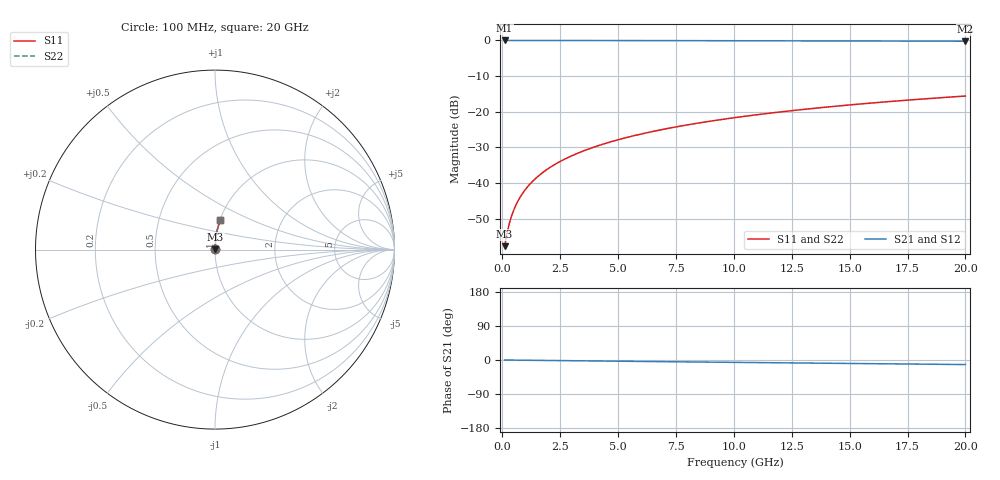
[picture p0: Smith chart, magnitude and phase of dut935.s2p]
! Touchstone file exported from HFSS 2024.1.0
!  File:  C:/UserFiles/LocalFiles/RDL_TSV_Batchsim/temp_RDL_bottom_935_1779941558.aedt
!  Generated:  12:15:14 PM May 28, 2026
!  Design:  RDL_bottom
!  Project:  temp_RDL_bottom_935_1779941558
!  Setup:  Setup1
!  Solution:  Sweep
! Variables:
!  dtsv = 10.80580581um
!  hbump = 3um
!  htsv = 77.93um
!  ldown = 101.03um
!  lrdl = 100um
!  p = 40
!  p1 = 56.48um
!  rhole = 1um
!  t = 450um
!  tdown = 2.98um
!  trdl = 3.915915916um
!  wdown = 15.58um
!  wrdl = 20um
# GHz S MA R 50.000000
! Terminal data exported
! Port[1] = RDL1_T1
! Port[2] = RDL1_T2
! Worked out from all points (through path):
!   200 points, 100 MHz to 20 GHz, reference 50 ohm
!   highest |S21| = -0.01 dB at 100 MHz (marker M1); lowest = -0.2 dB at 20 GHz (marker M2)
!   group delay of S21, straight-line fit = 1.66 ps
!   lowest |S11| = -57.7 dB at 100 MHz (marker M3), VSWR 1.00, Z = 50.1 + j0.0834 ohm
!   |S11| at or under -10 dB: start of sweep to end of sweep
!   |S22| runs from -57.7 to -15.6 dB; largest |S21 - S12| = 4.2e-15
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0.1  0.001309 39.5  0.999 -0.1  0.999 -0.1  0.001309 39.5
! Gamma 0 0 0 0
! Port Impedance 50 0 50 0
0.2  0.001951 58.3  0.999 -0.1  0.999 -0.1  0.001951 58.3
0.3  0.002691 67.1  0.9989 -0.2  0.9989 -0.2  0.002691 67.1
0.4  0.00346 71.9  0.9989 -0.3  0.9989 -0.3  0.00346 71.9
0.5  0.004238 75.0  0.9989 -0.3  0.9989 -0.3  0.004238 75.0
0.6  0.00502 77.2  0.9988 -0.4  0.9988 -0.4  0.00502 77.2
0.8  0.00659 79.9  0.9988 -0.5  0.9988 -0.5  0.00659 79.9
1.1  0.008958 82.4  0.9987 -0.7  0.9987 -0.7  0.008958 82.4
1.5  0.01213 84.1  0.9985 -1.0  0.9985 -1.0  0.01213 84.1
1.8  0.01453 85.0  0.9984 -1.2  0.9984 -1.2  0.01453 85.0
2.1  0.01693 85.5  0.9983 -1.4  0.9983 -1.4  0.01693 85.5
2.7  0.02176 86.3  0.9979 -1.7  0.9979 -1.7  0.02176 86.3
3.5  0.02824 86.8  0.9974 -2.3  0.9974 -2.3  0.02824 86.8
4.2  0.03396 86.9  0.9968 -2.7  0.9968 -2.7  0.03396 86.9
5  0.04054 87.0  0.996 -3.2  0.996 -3.2  0.04054 87.0
5.9  0.04801 86.9  0.9951 -3.8  0.9951 -3.8  0.04801 86.9
6.8  0.05552 86.6  0.9941 -4.3  0.9941 -4.3  0.05553 86.6
8.3  0.06814 86.1  0.9923 -5.2  0.9923 -5.2  0.06814 86.1
10.1  0.08337 85.2  0.99 -6.3  0.99 -6.3  0.08337 85.2
13.4  0.1113 83.4  0.9854 -8.2  0.9854 -8.2  0.1113 83.4
16.7  0.139 81.5  0.9805 -10.1  0.9805 -10.1  0.139 81.5
20  0.1663 79.5  0.9752 -12.0  0.9752 -12.0  0.1663 79.5
